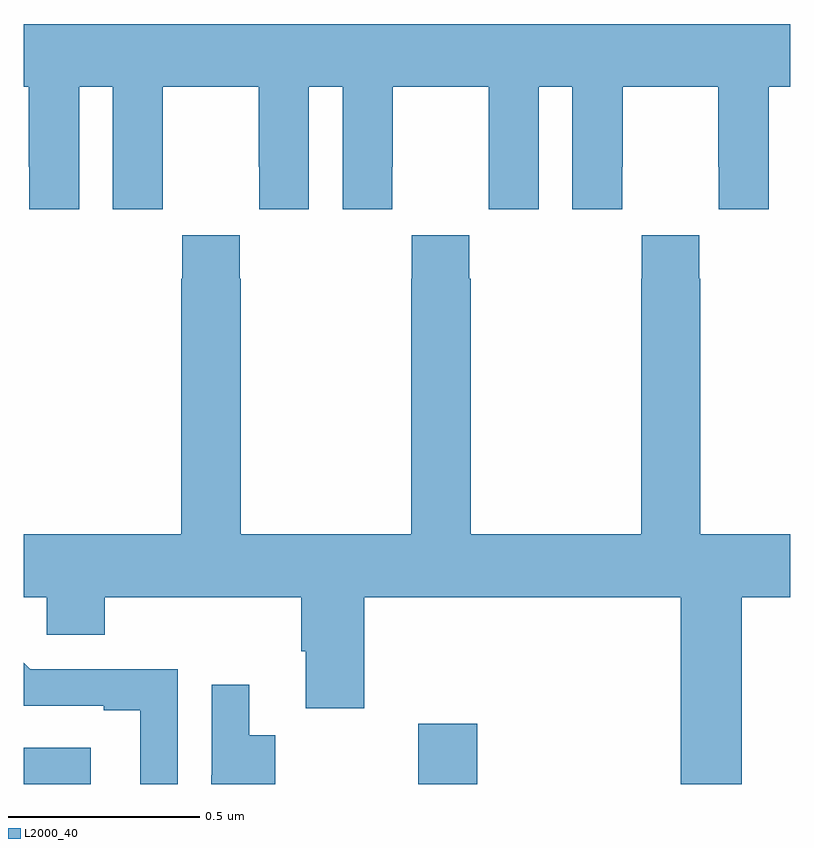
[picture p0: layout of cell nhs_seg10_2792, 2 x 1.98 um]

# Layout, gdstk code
import gdstk
lib = gdstk.Library(unit=1e-6, precision=1e-09)
def R(c, l, rs):  # rectangles x0, y0, x1, y1
    for r in rs: c.add(gdstk.rectangle(r[:2], r[2:], *l))
def P(c, l, *ps):  # polygons
    for p in ps: c.add(gdstk.Polygon(p, *l))
L2000_40 = (2000, 40)

nhs_seg10_2792 = lib.new_cell('nhs_seg10_2792')
R(nhs_seg10_2792, L2000_40, [(145,1294.5,145.174,1294.594), (146.029,1294.5,146.183,1294.657)])
P(nhs_seg10_2792, L2000_40, [(145.144,1296.32),(145.232,1296.32),(145.232,1296),(145.362,1296),(145.362,1296.112),(145.363,1296.112),(145.363,1296.32),(145.613,1296.32),(145.613,1296.112),(145.614,1296.112),(145.614,1296),(145.744,1296),(145.744,1296.32),(145.832,1296.32),(145.832,1296),(145.962,1296),(145.962,1296.112),(145.963,1296.112),(145.963,1296.32),(146.213,1296.32),(146.213,1296.112),(146.214,1296.112),(146.214,1296),(146.344,1296),(146.344,1296.32),(146.432,1296.32),(146.432,1296),(146.562,1296),(146.562,1296.112),(146.563,1296.112),(146.563,1296.32),(146.813,1296.32),(146.813,1296.112),(146.814,1296.112),(146.814,1296),(146.944,1296),(146.944,1296.32),(147,1296.32),(147,1296.484),(145,1296.484),(145,1296.32),(145.013,1296.32),(145.013,1296.112),(145.014,1296.112),(145.014,1296),(145.144,1296)],
  [(146.874,1294.988),(147,1294.988),(147,1295.152),(146.766,1295.152),(146.766,1295.819),(146.763,1295.819),(146.763,1295.932),(146.613,1295.932),(146.613,1295.819),(146.611,1295.819),(146.611,1295.152),(146.166,1295.152),(146.166,1295.819),(146.163,1295.819),(146.163,1295.932),(146.013,1295.932),(146.013,1295.819),(146.011,1295.819),(146.011,1295.152),(145.566,1295.152),(145.566,1295.819),(145.563,1295.819),(145.563,1295.932),(145.413,1295.932),(145.413,1295.819),(145.411,1295.819),(145.411,1295.152),(145,1295.152),(145,1294.988),(145.059,1294.988),(145.059,1294.89),(145.211,1294.89),(145.211,1294.988),(145.724,1294.988),(145.724,1294.846),(145.736,1294.846),(145.736,1294.698),(145.889,1294.698),(145.889,1294.988),(146.714,1294.988),(146.714,1294.5),(146.874,1294.5)],
  [(145.401,1294.8),(145.017,1294.8),(145,1294.817),(145,1294.704),(145.208,1294.704),(145.208,1294.692),(145.304,1294.692),(145.304,1294.5),(145.401,1294.5)],
  [(145.656,1294.627),(145.588,1294.627),(145.588,1294.759),(145.49,1294.759),(145.49,1294.523),(145.489,1294.523),(145.489,1294.5),(145.656,1294.5)])

lib.write_gds('nhs_seg10_2792.gds')
